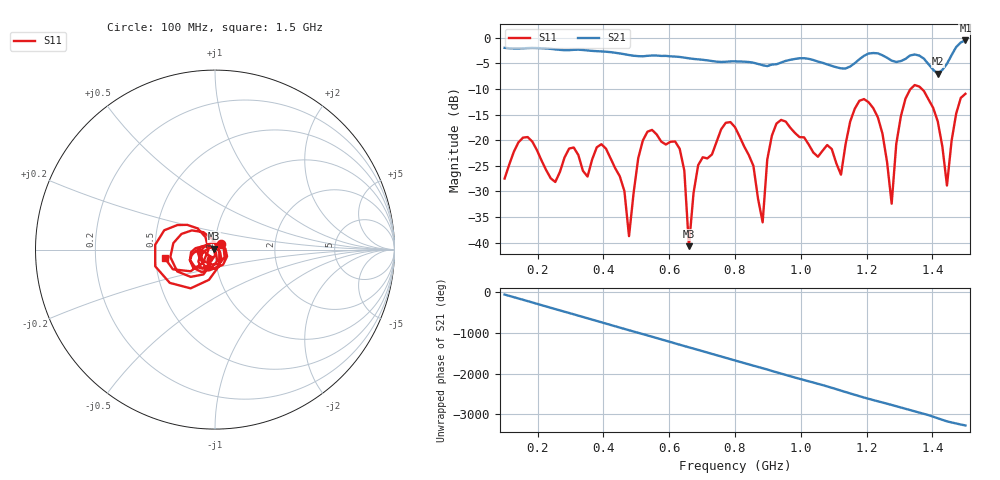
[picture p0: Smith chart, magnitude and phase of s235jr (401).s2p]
! NanoVNA-App
! Date: 2025-09-25 15:07:17
! Start: 100MHz Stop: 1,5GHz Points: 101
! S-Parameter data: F S11 S21 S12 S22
# Hz S RI R 50
!  Frequency  S11_Real  S11_Imag  S21_Real  S21_Imag  S12_Real  S12_Imag  S22_Real  S22_Imag
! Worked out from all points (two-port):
!   101 points, 100 MHz to 1.5 GHz, reference 50 ohm
!   highest |S21| = -0.52 dB at 1.5 GHz (marker M1); lowest = -7.0 dB at 1.416 GHz (marker M2)
!   |S21| within 3 dB of the highest: start of sweep to 494.9 MHz; 1.192 GHz to 1.251 GHz (59.07 MHz wide, 4.84 % of centre) (the widest 2 of 5)
!   lowest |S11| = -40.7 dB at 660 MHz (marker M3), VSWR 1.02, Z = 49.3 + j0.594 ohm
!   |S11| at or under -10 dB: start of sweep to 1.334 GHz; 1.368 GHz to end of sweep
!   S12 and S22 are empty: the file has one direction only
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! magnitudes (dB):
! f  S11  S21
! 100 MHz  -27.5  -2.0
! 170 MHz  -19.4  -2.0
! 338 MHz  -26.0  -2.4
! 408 MHz  -21.6  -2.7
! 478 MHz  -38.7  -3.4
! 520 MHz  -20.0  -3.6
! 576 MHz  -20.3  -3.5
! 632 MHz  -21.7  -3.7
! 660 MHz  -40.7  -4.0
! 688 MHz  -24.9  -4.2
! 800 MHz  -17.4  -4.6
! 884 MHz  -36.0  -5.4
! 926 MHz  -16.7  -5.2
! 1.038 GHz  -22.4  -4.3
! 1.122 GHz  -26.7  -6.0
! 1.192 GHz  -12.0  -3.5
! 1.248 GHz  -18.7  -3.4
! 1.276 GHz  -32.4  -4.5
! 1.332 GHz  -10.1  -3.4
! 1.416 GHz  -16.3  -7.0
! 1.444 GHz  -28.8  -5.1
! 1.5 GHz  -10.9  -0.5
